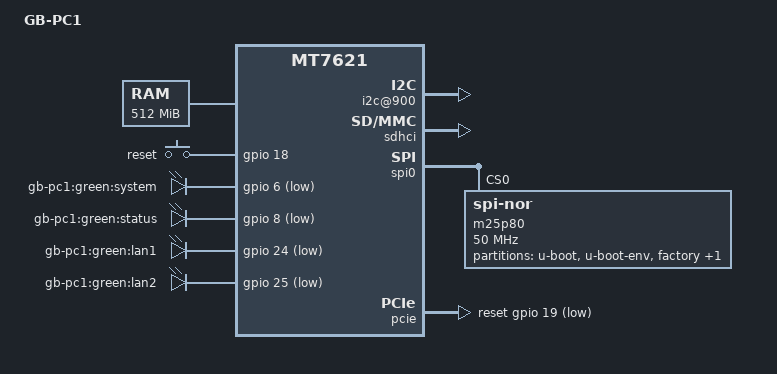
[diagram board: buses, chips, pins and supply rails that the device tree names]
/dts-v1/;

#include "mt7621.dtsi"

#include <dt-bindings/gpio/gpio.h>
#include <dt-bindings/input/input.h>

/ {
	compatible = "gnubee,gb-pc1", "mediatek,mt7621-soc";
	model = "GB-PC1";

	memory@0 {
		device_type = "memory";
		reg = <0x0 0x1c000000>, <0x20000000 0x4000000>;
	};

	chosen {
		bootargs = "console=ttyS0,57600";
	};

	palmbus: palmbus@1E000000 {
		i2c@900 {
			status = "okay";
		};
	};

	gpio-keys {
		compatible = "gpio-keys";

		reset {
			label = "reset";
			gpios = <&gpio 18 GPIO_ACTIVE_HIGH>;
			linux,code = <KEY_RESTART>;
		};
	};

	gpio-leds {
		compatible = "gpio-leds";

		system {
			label = "gb-pc1:green:system";
			gpios = <&gpio 6 GPIO_ACTIVE_LOW>;
		};

		status {
			label = "gb-pc1:green:status";
			gpios = <&gpio 8 GPIO_ACTIVE_LOW>;
		};

		lan1 {
			label = "gb-pc1:green:lan1";
			gpios = <&gpio 24 GPIO_ACTIVE_LOW>;
		};

		lan2 {
			label = "gb-pc1:green:lan2";
			gpios = <&gpio 25 GPIO_ACTIVE_LOW>;
		};
	};
};

&sdhci {
	status = "okay";
};

&spi0 {
	status = "okay";

	m25p80@0 {
		#address-cells = <1>;
		#size-cells = <1>;
		compatible = "jedec,spi-nor";
		reg = <0>;
		spi-max-frequency = <50000000>;
		broken-flash-reset;

		partition@0 {
			label = "u-boot";
			reg = <0x0 0x30000>;
			read-only;
		};

		partition@30000 {
			label = "u-boot-env";
			reg = <0x30000 0x10000>;
			read-only;
		};

		factory: partition@40000 {
			label = "factory";
			reg = <0x40000 0x10000>;
			read-only;
		};

		partition@50000 {
			label = "firmware";
			reg = <0x50000 0x1FB0000>;
		};

	};
};

&pcie {
	pinctrl-names = "default";
	pinctrl-0 = <&pcie_pins>;

	reset-gpios = <&gpio 19 GPIO_ACTIVE_LOW>,
			<&gpio 8 GPIO_ACTIVE_LOW>,
			<&gpio 7 GPIO_ACTIVE_LOW>;
	status = "okay";
};

&pinctrl {
	state_default: pinctrl0 {
		default_gpio: gpio {
			groups = "wdt", "rgmii2", "uart3";
			function = "gpio";
		};
	};
};

&switch0 {
	ports {
		port@0 {
			label = "ethblack";
			status = "ok";
		};
		port@4 {
			label = "ethblue";
			status = "ok";
		};
	};
};
